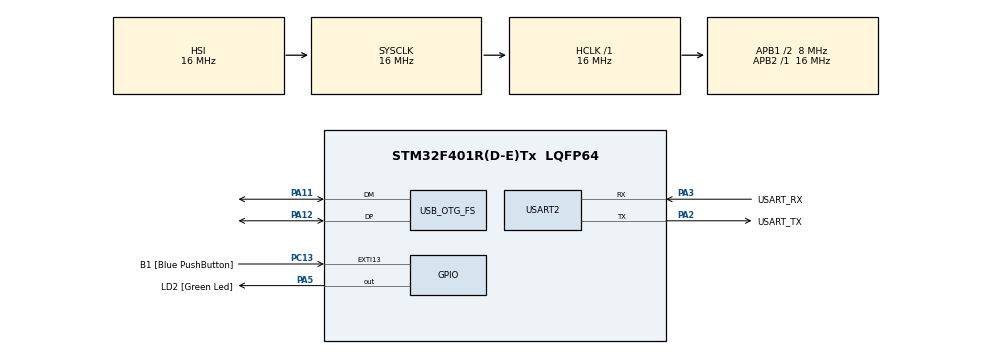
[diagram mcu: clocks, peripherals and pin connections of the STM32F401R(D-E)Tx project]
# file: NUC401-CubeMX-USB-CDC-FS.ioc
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Mcu.Family=STM32F4
Mcu.Name=STM32F401R(D-E)Tx
Mcu.Package=LQFP64
NVIC.OTG_FS_IRQn=true\:0\:0\:false\:false\:true\:true\:true
NVIC.PriorityGroup=NVIC_PRIORITYGROUP_0
PA11.Mode=Device_Only
PA11.Signal=USB_OTG_FS_DM
PA12.Mode=Device_Only
PA12.Signal=USB_OTG_FS_DP
PA13.GPIO_Label=TMS
PA13.Mode=Serial_Wire
PA13.Signal=SYS_JTMS-SWDIO
PA14.GPIO_Label=TCK
PA14.Mode=Serial_Wire
PA14.Signal=SYS_JTCK-SWCLK
PA2.GPIO_Label=USART_TX
PA2.GPIO_Mode=GPIO_MODE_AF_PP
PA2.GPIO_PuPd=GPIO_NOPULL
PA2.GPIO_Speed=GPIO_SPEED_FREQ_LOW
PA2.Mode=Asynchronous
PA2.Signal=USART2_TX
PA3.GPIO_Label=USART_RX
PA3.GPIO_Mode=GPIO_MODE_AF_PP
PA3.GPIO_PuPd=GPIO_NOPULL
PA3.GPIO_Speed=GPIO_SPEED_FREQ_LOW
PA3.Mode=Asynchronous
PA3.Signal=USART2_RX
PA5.GPIO_Label=LD2 [Green Led]
PA5.GPIO_Mode=GPIO_MODE_OUTPUT_PP
PA5.GPIO_PuPd=GPIO_NOPULL
PA5.GPIO_Speed=GPIO_SPEED_FREQ_LOW
PA5.Signal=GPIO_Output
PB3.GPIO_Label=SWO
PB3.Signal=SYS_JTDO-SWO
PC13-ANTI_TAMP.GPIO_Label=B1 [Blue PushButton]
PC13-ANTI_TAMP.GPIO_ModeDefaultEXTI=GPIO_MODE_IT_FALLING
PC13-ANTI_TAMP.GPIO_PuPd=GPIO_NOPULL
PC13-ANTI_TAMP.Signal=GPXTI13
PC14-OSC32_IN.Mode=LSE-External-Oscillator
PC14-OSC32_IN.Signal=RCC_OSC32_IN
PC15-OSC32_OUT.Mode=LSE-External-Oscillator
PC15-OSC32_OUT.Signal=RCC_OSC32_OUT
PH0\ -\ OSC_IN.Mode=HSE-External-Clock-Source
PH0\ -\ OSC_IN.Signal=RCC_OSC_IN
PH1\ -\ OSC_OUT.Mode=HSE-External-Clock-Source
PH1\ -\ OSC_OUT.Signal=RCC_OSC_OUT
ProjectManager.HeapSize=0x200
ProjectManager.StackSize=0x400
ProjectManager.TargetToolchain=STM32CubeIDE
RCC.48MHZClocksFreq_Value=48000000
RCC.AHBFreq_Value=16000000
RCC.APB1CLKDivider=RCC_HCLK_DIV2
RCC.APB1Freq_Value=8000000
RCC.APB1TimFreq_Value=16000000
RCC.APB2Freq_Value=16000000
RCC.APB2TimFreq_Value=16000000
RCC.CortexFreq_Value=16000000
RCC.HCLKFreq_Value=16000000
RCC.HSE_VALUE=8000000
RCC.HSI_VALUE=16000000
RCC.PLLM=4
RCC.PLLN=72
RCC.PLLP=RCC_PLLP_DIV4
RCC.PLLQ=3
RCC.SYSCLKFreq_VALUE=16000000
RCC.VCOOutputFreq_Value=144000000
USART2.VirtualMode=VM_ASYNC
USB_DEVICE.CLASS_NAME_FS=CDC
USB_DEVICE.VirtualMode-CDC_FS=Cdc
USB_DEVICE.VirtualModeFS=Cdc_FS
USB_OTG_FS.VirtualMode=Device_Only
VP_USB_DEVICE_VS_USB_DEVICE_CDC_FS.Mode=CDC_FS
board=NUCLEO-F401RE

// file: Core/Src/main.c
/* USER CODE BEGIN Header */
/**
  ******************************************************************************
  * @file           : main.c
  * @brief          : Main program body
  ******************************************************************************
  * @attention
  *
  * <h2><center>&copy; Copyright (c) 2020 STMicroelectronics.
  * All rights reserved.</center></h2>
  *
  * This software component is licensed by ST under BSD 3-Clause license,
  * the "License"; You may not use this file except in compliance with the
  * License. You may obtain a copy of the License at:
  *                        opensource.org/licenses/BSD-3-Clause
  *
  ******************************************************************************
  */
/* USER CODE END Header */
#include "main.h"
#include "usb_device.h"

/* USER CODE BEGIN Includes */
#include "usbd_cdc_if.h"
#include "usb_comm.h"
/* USER CODE END Includes */

UART_HandleTypeDef huart2;

void SystemClock_Config(void);
static void MX_GPIO_Init(void);
static void MX_USART2_UART_Init(void);

int main(void)
{

  /* MCU Configuration--------------------------------------------------------*/

  /* Reset of all peripherals, Initializes the Flash interface and the Systick. */
  HAL_Init();

  /* Configure the system clock */
  SystemClock_Config();

  /* Initialize all configured peripherals */
  MX_GPIO_Init();
  MX_USART2_UART_Init();
  MX_USB_DEVICE_Init();
  /* USER CODE BEGIN 2 */
  uint8_t buffer[]="Hello World!\n";
  uint8_t USBReceiveBuffer[8];
  uint32_t USBReceiveBufferLength = 0;
  uint8_t status;

  uint8_t log_buffer[21];
  log_buffer[0]='1';
  uint16_t time = (uint16_t)(HAL_GetTick()/10);
  log_buffer[1]= time & 0xff;
  log_buffer[2]= (time >> 8) & 0xff;

  /* USER CODE END 2 */

  /* Infinite loop */
  /* USER CODE BEGIN WHILE */
  while (1)
  {
//	  if(HAL_UART_Transmit(&huart2, buffer, sizeof(buffer), 100) != HAL_OK)
//	 			  Error_Handler();

	 	  if (VCP_retrieveUSBData(USBReceiveBuffer,&USBReceiveBufferLength)!=0)
	 	  {
	 		  HAL_GPIO_TogglePin(LD2_GPIO_Port, LD2_Pin);
	 		  status = interpretHostComand(USBReceiveBuffer,&USBReceiveBufferLength);
	 		  //CDC_Transmit_FS(USBReceiveBuffer, sizeof(USBReceiveBuffer));
	 	  }

	 	 if(status==LOG_DATA){
	 		uint16_t time = (uint16_t)(HAL_GetTick()/10);
	 		log_buffer[1]= time & 0xff;
	 		log_buffer[2]= (time >> 8) & 0xff;
	 		sendLogData(log_buffer);
	 	 }

	 	  HAL_Delay(1000);
    /* USER CODE END WHILE */

  }
}

void SystemClock_Config(void)
{
  RCC_OscInitTypeDef RCC_OscInitStruct = {0};
  RCC_ClkInitTypeDef RCC_ClkInitStruct = {0};

  /** Configure the main internal regulator output voltage
  */
  __HAL_RCC_PWR_CLK_ENABLE();
  __HAL_PWR_VOLTAGESCALING_CONFIG(PWR_REGULATOR_VOLTAGE_SCALE2);
  /** Initializes the RCC Oscillators according to the specified parameters
  * in the RCC_OscInitTypeDef structure.
  */
  RCC_OscInitStruct.OscillatorType = RCC_OSCILLATORTYPE_HSI|RCC_OSCILLATORTYPE_HSE;
  RCC_OscInitStruct.HSEState = RCC_HSE_BYPASS;
  RCC_OscInitStruct.HSIState = RCC_HSI_ON;
  RCC_OscInitStruct.HSICalibrationValue = RCC_HSICALIBRATION_DEFAULT;
  RCC_OscInitStruct.PLL.PLLState = RCC_PLL_ON;
  RCC_OscInitStruct.PLL.PLLSource = RCC_PLLSOURCE_HSE;
  RCC_OscInitStruct.PLL.PLLM = 4;
  RCC_OscInitStruct.PLL.PLLN = 72;
  RCC_OscInitStruct.PLL.PLLP = RCC_PLLP_DIV4;
  RCC_OscInitStruct.PLL.PLLQ = 3;
  if (HAL_RCC_OscConfig(&RCC_OscInitStruct) != HAL_OK)
  {
    Error_Handler();
  }
  /** Initializes the CPU, AHB and APB buses clocks
  */
  RCC_ClkInitStruct.ClockType = RCC_CLOCKTYPE_HCLK|RCC_CLOCKTYPE_SYSCLK
                              |RCC_CLOCKTYPE_PCLK1|RCC_CLOCKTYPE_PCLK2;
  RCC_ClkInitStruct.SYSCLKSource = RCC_SYSCLKSOURCE_HSI;
  RCC_ClkInitStruct.AHBCLKDivider = RCC_SYSCLK_DIV1;
  RCC_ClkInitStruct.APB1CLKDivider = RCC_HCLK_DIV2;
  RCC_ClkInitStruct.APB2CLKDivider = RCC_HCLK_DIV1;

  if (HAL_RCC_ClockConfig(&RCC_ClkInitStruct, FLASH_LATENCY_0) != HAL_OK)
  {
    Error_Handler();
  }
}

static void MX_USART2_UART_Init(void)
{

  huart2.Instance = USART2;
  huart2.Init.BaudRate = 115200;
  huart2.Init.WordLength = UART_WORDLENGTH_8B;
  huart2.Init.StopBits = UART_STOPBITS_1;
  huart2.Init.Parity = UART_PARITY_NONE;
  huart2.Init.Mode = UART_MODE_TX_RX;
  huart2.Init.HwFlowCtl = UART_HWCONTROL_NONE;
  huart2.Init.OverSampling = UART_OVERSAMPLING_16;
  if (HAL_UART_Init(&huart2) != HAL_OK)
  {
    Error_Handler();
  }

}

static void MX_GPIO_Init(void)
{
  GPIO_InitTypeDef GPIO_InitStruct = {0};

  /* GPIO Ports Clock Enable */
  __HAL_RCC_GPIOC_CLK_ENABLE();
  __HAL_RCC_GPIOH_CLK_ENABLE();
  __HAL_RCC_GPIOA_CLK_ENABLE();
  __HAL_RCC_GPIOB_CLK_ENABLE();

  /*Configure GPIO pin Output Level */
  HAL_GPIO_WritePin(LD2_GPIO_Port, LD2_Pin, GPIO_PIN_RESET);

  /*Configure GPIO pin : B1_Pin */
  GPIO_InitStruct.Pin = B1_Pin;
  GPIO_InitStruct.Mode = GPIO_MODE_IT_FALLING;
  GPIO_InitStruct.Pull = GPIO_NOPULL;
  HAL_GPIO_Init(B1_GPIO_Port, &GPIO_InitStruct);

  /*Configure GPIO pin : LD2_Pin */
  GPIO_InitStruct.Pin = LD2_Pin;
  GPIO_InitStruct.Mode = GPIO_MODE_OUTPUT_PP;
  GPIO_InitStruct.Pull = GPIO_NOPULL;
  GPIO_InitStruct.Speed = GPIO_SPEED_FREQ_LOW;
  HAL_GPIO_Init(LD2_GPIO_Port, &GPIO_InitStruct);

}

void Error_Handler(void)
{
}

/************************ (C) COPYRIGHT STMicroelectronics *****END OF FILE****/
